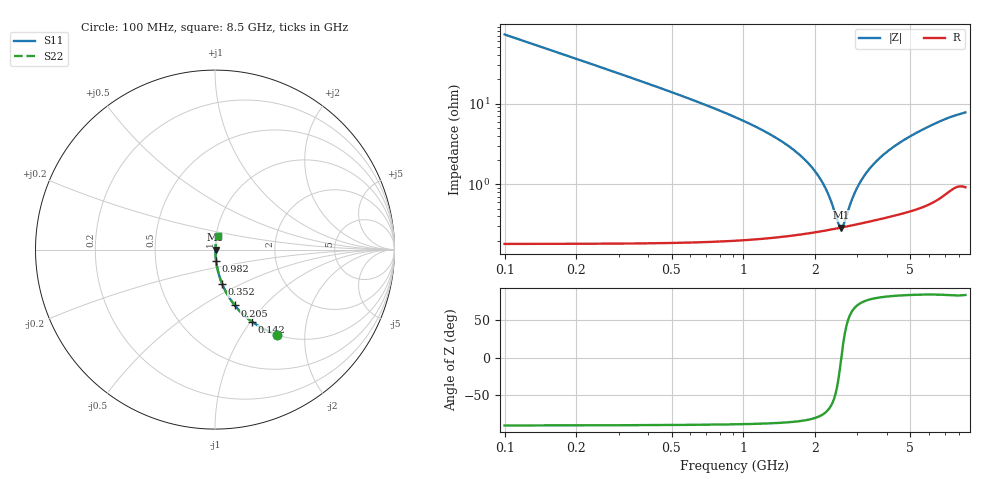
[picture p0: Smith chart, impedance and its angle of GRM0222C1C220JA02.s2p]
!Murata Part Number: GRM0222C1C220JA02
!These Parameters are Measured in Series Mode Connection
!Data Generated on Mar 30, 2021
!  o--ll--o
!Port1  Port2
!  o------o
!Operation Temp=25[degC], DC Bias Voltage=0[V]
!Freq. Start=100[MHz] Stop=9[GHz] 401[Steps]
# Hz S RI R 50
!Freq.(Hz) S11(Real) S11(Imag) S21(Real) S21(Imag) S12(Real) S12(Imag) S22(Real) S22(Imag)
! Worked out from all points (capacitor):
!   401 points, 100 MHz to 8.5 GHz, reference 50 ohm
!   read as one part in series: C = 22 pF near 142 MHz
!   lowest |Z| = 291 mohm at 2.557 GHz (marker M1)
!   series resonance near 2.57 GHz, so ESL is about 170 pH
!   S11 on the Smith chart (normalised r, x): 100 MHz: 1.00, -1.44; 142 MHz: 1.00, -1.02; 205 MHz: 1.00, -0.70; 352 MHz: 1.00, -0.40; 982 MHz: 1.00, -0.13; 8.5 GHz: 1.02, +0.15
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1e8  0.3432 -0.4735  0.6568 0.4735  0.6568 0.4735  0.3432 -0.4735
1.42e8  0.2059 -0.4026  0.7941 0.4026  0.7941 0.4026  0.2059 -0.4026
2.05e8  0.1107 -0.3112  0.8893 0.3112  0.8893 0.3112  0.1107 -0.3112
3.52e8  0.0407 -0.193  0.9593 0.193  0.9593 0.193  0.0407 -0.193
6.04e8  0.0144 -0.1112  0.9856 0.1112  0.9856 0.1112  0.0144 -0.1112
9.82e8  0.00591 -0.0623  0.9941 0.0623  0.9941 0.0623  0.00591 -0.0623
1.507e9  0.00322 -0.0311  0.9968 0.0311  0.9968 0.0311  0.00322 -0.0311
1.843e9  0.00279 -0.0188  0.9972 0.0188  0.9972 0.0188  0.00279 -0.0188
2.095e9  0.00272 -0.0114  0.9973 0.0114  0.9973 0.0114  0.00272 -0.0114
2.284e9  0.00275 -0.00654  0.9972 0.00654  0.9972 0.00654  0.00275 -0.00654
2.494e9  0.00285 -0.00166  0.9972 0.00166  0.9972 0.00166  0.00285 -0.00166
2.557e9  0.00289 -0.000277  0.9971 0.000277  0.9971 0.000277  0.00289 -0.000277
2.641e9  0.00294 0.00151  0.9971 -0.00151  0.9971 -0.00151  0.00294 0.00151
2.809e9  0.00308 0.00491  0.9969 -0.00491  0.9969 -0.00491  0.00308 0.00491
2.914e9  0.00317 0.00694  0.9968 -0.00694  0.9968 -0.00694  0.00317 0.00694
3.145e9  0.0034 0.0112  0.9966 -0.0112  0.9966 -0.0112  0.0034 0.0112
3.439e9  0.00374 0.0162  0.9963 -0.0162  0.9963 -0.0162  0.00374 0.0162
3.817e9  0.00423 0.0222  0.9958 -0.0222  0.9958 -0.0222  0.00423 0.0222
4.3e9  0.00493 0.0293  0.9951 -0.0293  0.9951 -0.0293  0.00493 0.0293
5.707e9  0.00755 0.0478  0.9924 -0.0478  0.9924 -0.0478  0.00755 0.0478
7.114e9  0.0118 0.064  0.9882 -0.064  0.9882 -0.064  0.0118 0.064
8.5e9  0.0149 0.0756  0.9851 -0.0756  0.9851 -0.0756  0.0149 0.0756
